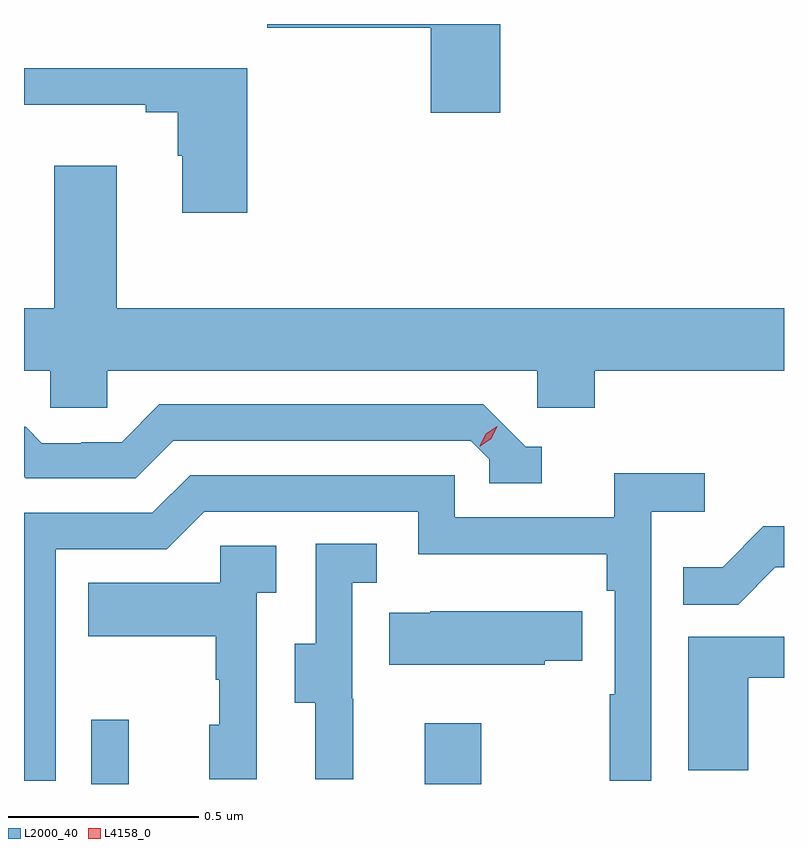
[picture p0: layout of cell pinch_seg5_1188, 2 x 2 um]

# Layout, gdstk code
import gdstk
lib = gdstk.Library(unit=1e-6, precision=1e-09)
def R(c, l, rs):  # rectangles x0, y0, x1, y1
    for r in rs: c.add(gdstk.rectangle(r[:2], r[2:], *l))
def P(c, l, *ps):  # polygons
    for p in ps: c.add(gdstk.Polygon(p, *l))
L2000_40 = (2000, 40)
L4158_0 = (4158, 0)

pinch_seg5_1188 = lib.new_cell('pinch_seg5_1188')
R(pinch_seg5_1188, L2000_40, [(884.385,838.356,884.483,838.525), (885.263,838.356,885.411,838.516)])
P(pinch_seg5_1188, L2000_40, [(885.461,840.356),(884.848,840.356),(884.848,840.346),(885.278,840.346),(885.278,840.123),(885.461,840.123)],
  [(884.795,840.24),(884.208,840.24),(884.208,840.143),(884.528,840.143),(884.528,840.124),(884.612,840.124),(884.612,840.009),(884.624,840.009),(884.624,839.859),(884.795,839.859)],
  [(884.452,839.983),(884.288,839.983),(884.288,839.608),(884.208,839.608),(884.208,839.444),(884.277,839.444),(884.277,839.346),(884.427,839.346),(884.427,839.444),(885.558,839.444),(885.558,839.346),(885.71,839.346),(885.71,839.444),(886.208,839.444),(886.208,839.608),(884.452,839.608)],
  [(885.571,839.244),(885.528,839.244),(885.417,839.355),(884.564,839.355),(884.465,839.256),(884.358,839.256),(884.358,839.253),(884.255,839.253),(884.213,839.296),(884.208,839.296),(884.208,839.165),(884.213,839.16),(884.502,839.16),(884.601,839.259),(885.384,839.259),(885.432,839.211),(885.432,839.148),(885.571,839.148)],
  [(884.292,838.974),(884.583,838.974),(884.682,839.073),(885.246,839.073),(885.246,838.961),(885.742,838.961),(885.742,838.865),(885.762,838.865),(885.762,838.592),(885.75,838.592),(885.75,838.365),(885.858,838.365),(885.858,839.072),(886,839.072),(886,839.174),(885.761,839.174),(885.761,839.058),(885.342,839.058),(885.342,839.169),(884.645,839.169),(884.546,839.07),(884.208,839.07),(884.208,838.365),(884.292,838.365)],
  [(886.185,838.926),(886.208,838.926),(886.208,839.034),(886.154,839.034),(886.047,838.927),(885.943,838.927),(885.943,838.828),(886.087,838.828)],
  [(885.074,838.581),(885.072,838.581),(885.072,838.885),(885.136,838.885),(885.136,838.988),(884.976,838.988),(884.976,838.725),(884.921,838.725),(884.921,838.57),(884.975,838.57),(884.975,838.368),(885.074,838.368)],
  [(884.82,838.859),(884.872,838.859),(884.872,838.983),(884.724,838.983),(884.724,838.885),(884.377,838.885),(884.377,838.745),(884.712,838.745),(884.712,838.631),(884.722,838.631),(884.722,838.512),(884.696,838.512),(884.696,838.368),(884.82,838.368)],
  [(885.579,838.681),(885.677,838.681),(885.677,838.81),(885.277,838.81),(885.277,838.807),(885.169,838.807),(885.169,838.67),(885.579,838.67)],
  [(886.114,838.635),(886.208,838.635),(886.208,838.743),(885.956,838.743),(885.956,838.392),(886.114,838.392)])
P(pinch_seg5_1188, L4158_0, [(885.407,839.245),(885.407,839.246),(885.423,839.278),(885.453,839.298),(885.454,839.298),(885.454,839.298),(885.438,839.265),(885.408,839.245)])

lib.write_gds('pinch_seg5_1188.gds')
